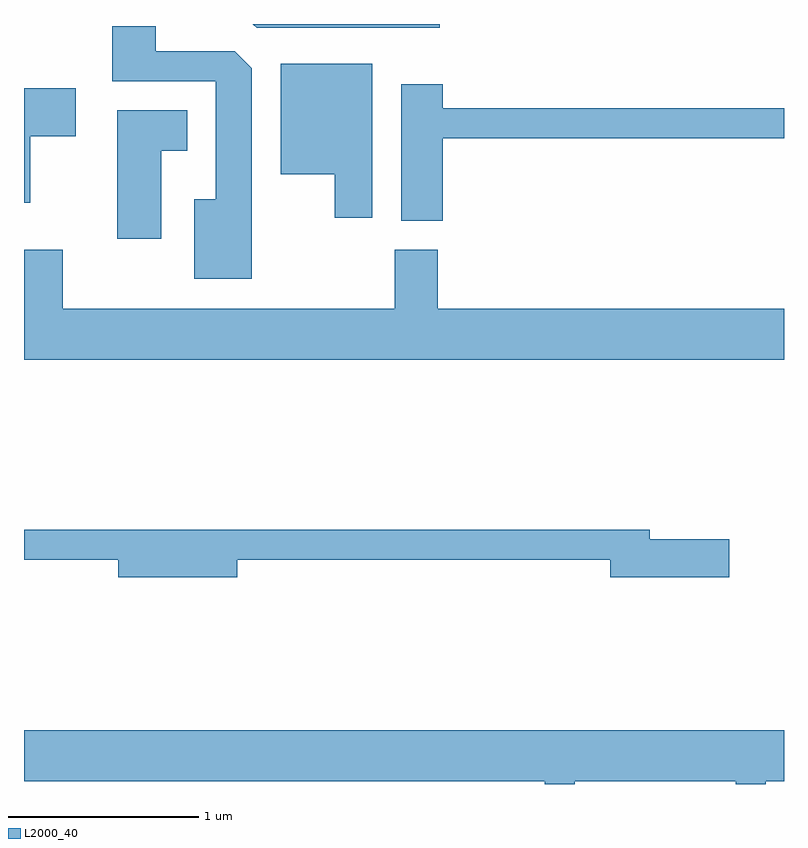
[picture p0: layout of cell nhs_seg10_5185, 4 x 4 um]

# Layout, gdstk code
import gdstk
lib = gdstk.Library(unit=1e-6, precision=1e-09)
def P(c, l, *ps):  # polygons
    for p in ps: c.add(gdstk.Polygon(p, *l))
L2000_40 = (2000, 40)

nhs_seg10_5185 = lib.new_cell('nhs_seg10_5185')
P(nhs_seg10_5185, L2000_40, [(339.798,2164.522),(338.816,2164.522),(338.837,2164.501),(339.798,2164.501)],
  [(338.809,2164.289),(338.719,2164.379),(338.304,2164.379),(338.304,2164.509),(338.076,2164.509),(338.076,2164.221),(338.621,2164.221),(338.621,2163.599),(338.506,2163.599),(338.506,2163.181),(338.809,2163.181)],
  [(339.444,2164.314),(338.961,2164.314),(338.961,2163.731),(339.246,2163.731),(339.246,2163.501),(339.444,2163.501)],
  [(339.814,2163.921),(341.611,2163.921),(341.611,2164.079),(339.814,2164.079),(339.814,2164.204),(339.596,2164.204),(339.596,2163.486),(339.814,2163.486)],
  [(337.644,2163.931),(337.884,2163.931),(337.884,2164.184),(337.611,2164.184),(337.611,2163.581),(337.644,2163.581)],
  [(338.334,2163.856),(338.469,2163.856),(338.469,2164.069),(338.101,2164.069),(338.101,2163.391),(338.334,2163.391)],
  [(341.611,2163.024),(339.789,2163.024),(339.789,2163.334),(339.561,2163.334),(339.561,2163.024),(337.814,2163.024),(337.814,2163.334),(337.611,2163.334),(337.611,2162.756),(341.611,2162.756)],
  [(338.734,2161.701),(340.696,2161.701),(340.696,2161.611),(341.324,2161.611),(341.324,2161.809),(340.904,2161.809),(340.904,2161.859),(337.611,2161.859),(337.611,2161.701),(338.106,2161.701),(338.106,2161.611),(338.734,2161.611)],
  [(340.509,2160.536),(341.356,2160.536),(341.356,2160.522),(341.514,2160.522),(341.514,2160.536),(341.611,2160.536),(341.611,2160.804),(337.611,2160.804),(337.611,2160.536),(340.351,2160.536),(340.351,2160.522),(340.509,2160.522)])

lib.write_gds('nhs_seg10_5185.gds')
